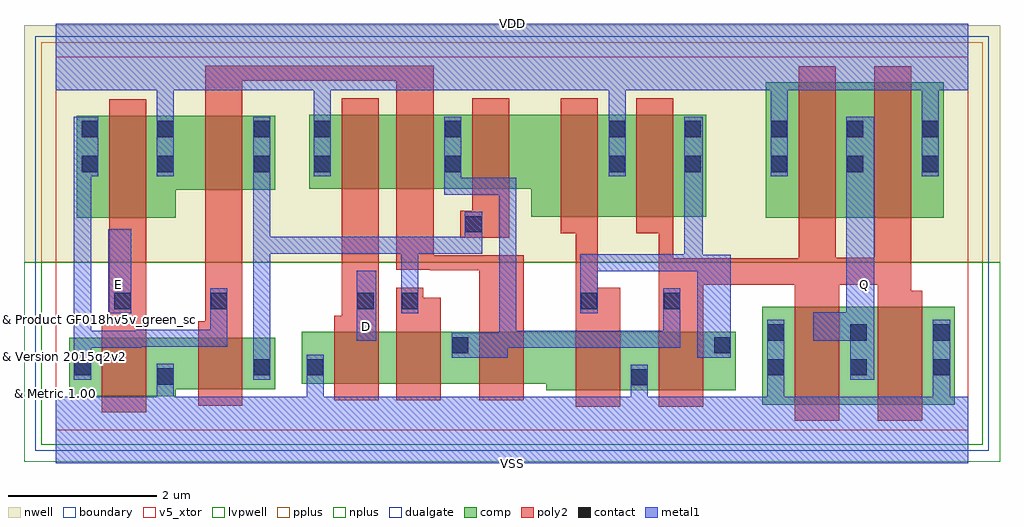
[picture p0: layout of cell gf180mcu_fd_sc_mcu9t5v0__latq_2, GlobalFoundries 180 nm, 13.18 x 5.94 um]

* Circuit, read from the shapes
.subckt gf180mcu_fd_sc_mcu9t5v0__latq_2 D E Q VDD VSS
XM1 VSS E n1 VSUBS nfet_05v0 w=0.79u l=0.6u
XM2 n2 n1 VSS VSUBS nfet_05v0 w=0.7u l=0.6u
XM3 n3 D VSS VSUBS nfet_05v0 w=0.7u l=0.6u
XM4 n4 n2 n3 VSUBS nfet_05v0 w=0.7u l=0.6u
XM5 n5 n1 n4 VSUBS nfet_05v0 w=0.7u l=0.6u
XM6 VSS n6 n5 VSUBS nfet_05v0 w=0.79u l=0.6u
XM7 n6 n4 VSS VSUBS nfet_05v0 w=0.79u l=0.6u
XM8 Q n4 VSS VSUBS nfet_05v0 w=1.32u l=0.6u m=2
XM9 VDD E n1 n7 pfet_05v0 w=1.38u l=0.5u
XM10 n2 n1 VDD n7 pfet_05v0 w=1u l=0.5u
XM11 n8 D VDD n7 pfet_05v0 w=1u l=0.5u
XM12 n4 n1 n8 n7 pfet_05v0 w=1u l=0.5u
XM13 n9 n2 n4 n7 pfet_05v0 w=1u l=0.5u
XM14 VDD n6 n9 n7 pfet_05v0 w=1.38u l=0.5u
XM15 n6 n4 VDD n7 pfet_05v0 w=1.38u l=0.5u
XM16 Q n4 VDD n7 pfet_05v0 w=1.83u l=0.5u m=2
.ends

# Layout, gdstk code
import gdstk
lib = gdstk.Library(unit=1e-6, precision=1e-09)
def R(c, l, rs):  # rectangles x0, y0, x1, y1
    for r in rs: c.add(gdstk.rectangle(r[:2], r[2:], *l))
def A(c, l, x, y, w, h, nx, ny, dx, dy):  # array of equal rectangles
    R(c, l, [(x+i*dx, y+j*dy, x+i*dx+w, y+j*dy+h) for i in range(nx) for j in range(ny)])
def P(c, l, *ps):  # polygons
    for p in ps: c.add(gdstk.Polygon(p, *l))
boundary = (0, 0)
nwell = (21, 0)
comp = (22, 0)
poly2 = (30, 0)
pplus = (31, 0)
nplus = (32, 0)
contact = (33, 0)
metal1 = (34, 0)
dualgate = (55, 0)
v5_xtor = (112, 1)
lvpwell = (204, 0)

gf180mcu_fd_sc_mcu9t5v0_ = lib.new_cell('gf180mcu_fd_sc_mcu9t5v0__latq_2')
R(gf180mcu_fd_sc_mcu9t5v0_, boundary, [(0,0,12.32,5.04)])
R(gf180mcu_fd_sc_mcu9t5v0_, nwell, [(-0.43,2.265,12.75,5.47)])
R(gf180mcu_fd_sc_mcu9t5v0_, comp, [(9.54,0.345,12.14,1.665), (9.59,2.865,11.99,4.695)])
P(gf180mcu_fd_sc_mcu9t5v0_, comp, [(0.18,0.46),(0.18,1.25),(2.96,1.25),(2.96,0.55),(1.62,0.55),(1.62,0.46)],
  [(0.28,2.865),(0.28,4.245),(2.96,4.245),(2.96,3.245),(1.62,3.245),(1.62,2.865)],
  [(6.42,2.88),(6.42,3.26),(3.42,3.26),(3.42,4.26),(8.78,4.26),(8.78,2.88)],
  [(6.62,0.535),(6.62,0.625),(3.32,0.625),(3.32,1.325),(9.18,1.325),(9.18,0.535)])
P(gf180mcu_fd_sc_mcu9t5v0_, poly2, [(0.62,0.24),(0.62,1.47),(0.72,1.47),(0.72,4.465),(1.22,4.465),(1.22,0.24)],
  [(3.76,0.405),(3.76,1.545),(3.86,1.545),(3.86,4.48),(4.36,4.48),(4.36,0.405)],
  [(4.6,0.405),(4.6,1.925),(4.96,1.925),(4.96,1.79),(5.2,1.79),(5.2,0.405)],
  [(5.46,2.6),(5.46,2.96),(5.62,2.96),(5.62,4.48),(6.12,4.48),(6.12,2.6)],
  [(1.92,0.33),(1.92,1.47),(2.02,1.47),(2.02,4.92),(5.1,4.92),(5.1,2.36),(6.32,2.36),(6.32,0.405),(5.72,0.405),(5.72,2.16),(5.055,2.16),(5.055,2.165),(4.6,2.165),(4.6,4.72),(2.52,4.72),(2.52,0.33)],
  [(7.02,0.315),(7.02,2.66),(6.82,2.66),(6.82,4.48),(7.32,4.48),(7.32,1.925),(7.62,1.925),(7.62,0.315)],
  [(9.98,0.125),(9.98,1.965),(8.74,1.965),(8.74,0.315),(8.14,0.315),(8.14,2.66),(7.84,2.66),(7.84,4.48),(8.34,4.48),(8.34,2.32),(10.03,2.32),(10.03,4.915),(10.53,4.915),(10.53,2.325),(11.05,2.325),(11.05,4.915),(11.55,4.915),(11.55,1.885),(11.7,1.885),(11.7,0.125),(11.1,0.125),(11.1,1.965),(10.58,1.965),(10.58,0.125)])
R(gf180mcu_fd_sc_mcu9t5v0_, pplus, [(-0.2,2.265,12.52,5.24)])
R(gf180mcu_fd_sc_mcu9t5v0_, nplus, [(-0.2,-0.2,12.52,2.265)])
A(gf180mcu_fd_sc_mcu9t5v0_, contact, 9.61, 0.74, 0.22, 0.22, 3, 2, 1.12, 0.47)
A(gf180mcu_fd_sc_mcu9t5v0_, contact, 9.66, 3.485, 0.22, 0.22, 3, 2, 1.02, 0.47)
R(gf180mcu_fd_sc_mcu9t5v0_, contact, [(7.77,0.605,7.99,0.825), (1.37,0.615,1.59,0.835), (0.25,0.74,0.47,0.96), (2.67,0.74,2.89,0.96), (3.39,0.74,3.61,0.96), (5.35,1.035,5.57,1.255), (8.89,1.035,9.11,1.255), (0.79,1.635,1.01,1.855), (2.09,1.635,2.31,1.855), (4.07,1.635,4.29,1.855), (4.67,1.635,4.89,1.855), (7.09,1.635,7.31,1.855), (8.21,1.635,8.43,1.855), (5.53,2.67,5.75,2.89), (0.35,3.485,0.57,3.705), (1.37,3.485,1.59,3.705), (2.67,3.485,2.89,3.705), (3.49,3.485,3.71,3.705), (5.25,3.485,5.47,3.705), (7.47,3.485,7.69,3.705), (8.49,3.485,8.71,3.705), (0.35,3.955,0.57,4.175), (1.37,3.955,1.59,4.175), (2.67,3.955,2.89,4.175), (3.49,3.955,3.71,4.175), (5.25,3.955,5.47,4.175), (7.47,3.955,7.69,4.175), (8.49,3.955,8.71,4.175)])
R(gf180mcu_fd_sc_mcu9t5v0_, metal1, [(4.065,1.21,4.33,2.15), (0.71,1.575,1.015,2.71)])
P(gf180mcu_fd_sc_mcu9t5v0_, metal1, [(0.245,0.68),(0.245,4.235),(0.575,4.235),(0.575,3.425),(0.475,3.425),(0.475,1.345),(1.085,1.345),(1.085,1.355),(2.085,1.355),(2.085,1.915),(2.315,1.915),(2.315,1.125),(1.155,1.125),(1.155,1.115),(0.475,1.115),(0.475,0.68)],
  [(2.665,0.68),(2.665,4.235),(2.895,4.235),(2.895,2.61),(5.525,2.61),(5.525,2.95),(5.755,2.95),(5.755,2.38),(4.895,2.38),(4.895,1.575),(4.665,1.575),(4.665,2.38),(2.895,2.38),(2.895,0.68)],
  [(5.345,0.975),(5.345,1.315),(5.985,1.315),(5.985,3.18),(5.245,3.18),(5.245,4.235),(5.475,4.235),(5.475,3.41),(6.215,3.41),(6.215,1.345),(8.205,1.345),(8.205,1.915),(8.435,1.915),(8.435,1.115),(6.1,1.115),(6.1,0.975)],
  [(8.665,0.975),(8.665,2.145),(7.315,2.145),(7.315,1.575),(7.085,1.575),(7.085,2.375),(8.485,2.375),(8.485,4.235),(8.735,4.235),(8.735,2.365),(9.115,2.365),(9.115,0.975)],
  [(10.725,0.68),(10.725,1.21),(10.23,1.21),(10.23,1.59),(10.675,1.59),(10.675,4.235),(11.05,4.235),(11.05,0.68)],
  [(0,-0.45),(0,0.45),(1.365,0.45),(1.365,0.895),(1.595,0.895),(1.595,0.45),(3.385,0.45),(3.385,1.02),(3.615,1.02),(3.615,0.45),(7.765,0.45),(7.765,0.885),(7.995,0.885),(7.995,0.45),(9.605,0.45),(9.605,1.49),(9.835,1.49),(9.835,0.45),(11.845,0.45),(11.845,1.49),(12.075,1.49),(12.075,0.45),(12.32,0.45),(12.32,-0.45)],
  [(1.365,3.425),(1.365,4.59),(0,4.59),(0,5.49),(12.32,5.49),(12.32,4.59),(11.925,4.59),(11.925,3.425),(11.695,3.425),(11.695,4.59),(9.885,4.59),(9.885,3.425),(9.655,3.425),(9.655,4.59),(7.695,4.59),(7.695,3.425),(7.465,3.425),(7.465,4.59),(3.715,4.59),(3.715,3.425),(3.485,3.425),(3.485,4.59),(1.595,4.59),(1.595,3.425)])
R(gf180mcu_fd_sc_mcu9t5v0_, dualgate, [(-0.28,-0.28,12.6,5.32)])
R(gf180mcu_fd_sc_mcu9t5v0_, v5_xtor, [(0,0,12.32,5.04)])
R(gf180mcu_fd_sc_mcu9t5v0_, lvpwell, [(-0.43,-0.43,12.75,2.265)])
gf180mcu_fd_sc_mcu9t5v0_.add(gdstk.Label('D', (4.2,1.4), layer=34, texttype=10))
gf180mcu_fd_sc_mcu9t5v0_.add(gdstk.Label('E', (0.84,1.96), layer=34, texttype=10))
gf180mcu_fd_sc_mcu9t5v0_.add(gdstk.Label('Q', (10.92,1.96), layer=34, texttype=10))
gf180mcu_fd_sc_mcu9t5v0_.add(gdstk.Label('VDD', (6.16,5.49), layer=34, texttype=10))
gf180mcu_fd_sc_mcu9t5v0_.add(gdstk.Label('VSS', (6.16,-0.45), layer=34, texttype=10))
gf180mcu_fd_sc_mcu9t5v0_.add(gdstk.Label('& Vendor GLOBALFOUNDRIES', (0,2), layer=63, texttype=63))
gf180mcu_fd_sc_mcu9t5v0_.add(gdstk.Label('& Product GF018hv5v_green_sc9', (0,1.5), layer=63, texttype=63))
gf180mcu_fd_sc_mcu9t5v0_.add(gdstk.Label('& Version 2015q2v2', (0,1), layer=63, texttype=63))
gf180mcu_fd_sc_mcu9t5v0_.add(gdstk.Label('& Metric 1.00', (0,0.5), layer=63, texttype=63))

lib.write_gds('gf180mcu_fd_sc_mcu9t5v0__latq_2.gds')
